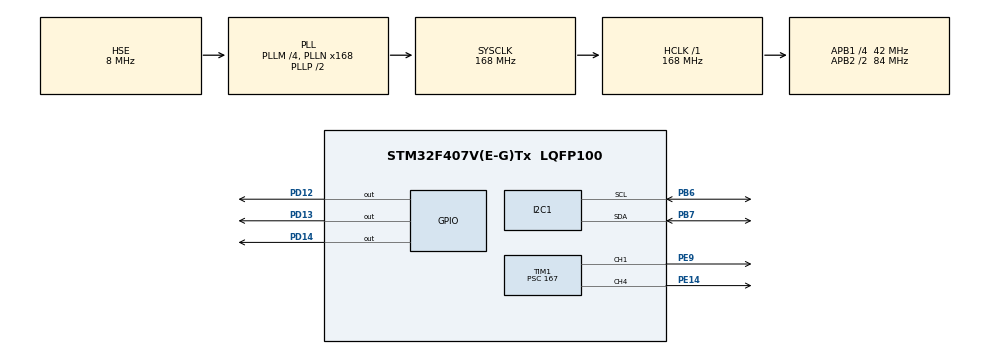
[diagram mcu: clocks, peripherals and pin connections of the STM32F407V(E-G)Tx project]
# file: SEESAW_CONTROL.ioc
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Mcu.Family=STM32F4
Mcu.Name=STM32F407V(E-G)Tx
Mcu.Package=LQFP100
NVIC.PriorityGroup=NVIC_PRIORITYGROUP_4
PA13.Mode=Serial_Wire
PA13.Signal=SYS_JTMS-SWDIO
PA14.Mode=Serial_Wire
PA14.Signal=SYS_JTCK-SWCLK
PB6.Mode=I2C
PB6.Signal=I2C1_SCL
PB7.Mode=I2C
PB7.Signal=I2C1_SDA
PD12.PinState=GPIO_PIN_SET
PD12.Signal=GPIO_Output
PD13.PinState=GPIO_PIN_SET
PD13.Signal=GPIO_Output
PD14.PinState=GPIO_PIN_SET
PD14.Signal=GPIO_Output
PE14.Signal=S_TIM1_CH4
PE9.Signal=S_TIM1_CH1
PH0-OSC_IN.Mode=HSE-External-Oscillator
PH0-OSC_IN.Signal=RCC_OSC_IN
PH1-OSC_OUT.Mode=HSE-External-Oscillator
PH1-OSC_OUT.Signal=RCC_OSC_OUT
ProjectManager.HeapSize=0x200
ProjectManager.StackSize=0x400
ProjectManager.TargetToolchain=STM32CubeIDE
RCC.48MHZClocksFreq_Value=84000000
RCC.AHBFreq_Value=168000000
RCC.APB1CLKDivider=RCC_HCLK_DIV4
RCC.APB1Freq_Value=42000000
RCC.APB1TimFreq_Value=84000000
RCC.APB2CLKDivider=RCC_HCLK_DIV2
RCC.APB2Freq_Value=84000000
RCC.APB2TimFreq_Value=168000000
RCC.CortexFreq_Value=168000000
RCC.HCLKFreq_Value=168000000
RCC.HSE_VALUE=8000000
RCC.HSI_VALUE=16000000
RCC.LSE_VALUE=32768
RCC.PLLM=4
RCC.PLLN=168
RCC.PLLSourceVirtual=RCC_PLLSOURCE_HSE
RCC.SYSCLKFreq_VALUE=168000000
RCC.SYSCLKSource=RCC_SYSCLKSOURCE_PLLCLK
RCC.VCOOutputFreq_Value=336000000
SH.S_TIM1_CH1.0=TIM1_CH1,PWM Generation1 CH1
SH.S_TIM1_CH4.0=TIM1_CH4,PWM Generation4 CH4
TIM1.Channel-PWM\ Generation1\ CH1=TIM_CHANNEL_1
TIM1.Channel-PWM\ Generation4\ CH4=TIM_CHANNEL_4
TIM1.Period=2499
TIM1.Prescaler=167
VP_TIM1_VS_ClockSourceINT.Mode=Internal
board=custom

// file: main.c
/* USER CODE BEGIN Header */
/**
  ******************************************************************************
  * @file           : main.c
  * @brief          : Main program body
  ******************************************************************************
  * @attention
  *
  * Copyright (c) 2022 STMicroelectronics.
  * All rights reserved.
  *
  * This software is licensed under terms that can be found in the LICENSE file
  * in the root directory of this software component.
  * If no LICENSE file comes with this software, it is provided AS-IS.
  *
  ******************************************************************************
  */
/* USER CODE END Header */
#include "main.h"

/* USER CODE BEGIN Includes */
#include "stdio.h"
#include "string.h"
#include "stdlib.h"
#include "math.h"
#include "stdbool.h"
//#include "A.h"
/* USER CODE END Includes */

/* USER CODE BEGIN PD */
#define MPU6050_ADDR 0x68<<1
#define PWR_MGMT_1_REG 0x6B
#define SMPLRT_DIV_REG 0x19
#define GYRO_CNFG_REG 0x1B
#define ACC_CNFG_REG 0x1C
/* USER CODE END PD */

I2C_HandleTypeDef hi2c1;
TIM_HandleTypeDef htim1;

/* USER CODE BEGIN PV */
uint16_t USBGiden[100];
uint16_t pwm;
uint16_t pwm2;
float set = 0;
float kpacc = 12, ki = 0.1, kd = 0.2, kpgyro = 0.6;
double throttle = 1300;
float pid_p = 0, pid_i = 0, pid_d = 0, PID, PID2, pid_p1 = 0;
float error, previous_error, error_cascade;
unsigned long t_now, t_last;
float dt;
float gyro_cal[3];
int16_t acc_total_vector;
float angle_pitch_gyro, angle_roll_gyro;
float angle_pitch_acc, angle_roll_acc;
float angle_pitch_gyro_velocity;
float angle_pitch, angle_roll;
int16_t raw_temp;
float temp;
int i;
float prevtime, prevtime1, time1, elapsedtime1, prevtime2, time2, elapsedtime2;
HAL_StatusTypeDef set_gyro;
uint8_t data;
uint8_t buffer[2], tuffer[6], cuffer[6];
int16_t gyro_raw[3], acc_raw[3];
#define Elapsed_time 0.001
uint32_t system_clock_counter_1ms;
typedef union
{
	struct
	{
		uint8_t Hz_1000 : 1 ;
		uint8_t Hz_200 : 1;
		uint8_t Hz_100 : 1;
		uint8_t Hz_50 : 1;
		uint8_t Hz_20 : 1;
		uint8_t Hz_10 : 1;
		uint8_t Hz_5 : 1;
		uint8_t Hz_1 : 1;
	}Task;

	uint8_t all_u8;

}time_task_union;

 time_task_union Time;
/* USER CODE END PV */

void SystemClock_Config(void);
static void MX_GPIO_Init(void);
static void MX_I2C1_Init(void);
static void MX_TIM1_Init(void);

/* USER CODE BEGIN 0 */
void HAL_SYSTICK_Callback(void)
{
	system_clock_counter_1ms++;

	if( system_clock_counter_1ms % 1000 == 0)
	{
		Time.Task.Hz_1 = 1;
	}
	if( system_clock_counter_1ms % 200 == 0)
	{
		Time.Task.Hz_5 = 1;
	}
	if( system_clock_counter_1ms % 100 == 0)
	{
		Time.Task.Hz_10 = 1;
	}
	if( system_clock_counter_1ms % 50 == 0)
	{
		Time.Task.Hz_20 = 1;
	}
	if( system_clock_counter_1ms % 20 == 0)
	{
		Time.Task.Hz_50 = 1;
	}
	if( system_clock_counter_1ms % 10 == 0)
	{
		Time.Task.Hz_100 = 1;
	}
	if( system_clock_counter_1ms % 5 == 0)
	{
		Time.Task.Hz_200 = 1;
	}
	if( system_clock_counter_1ms % 1 == 0)
	{
		Time.Task.Hz_1000 = 1;
	}
}
/* USER CODE END 0 */

int main(void)
{

  /* MCU Configuration--------------------------------------------------------*/

  /* Reset of all peripherals, Initializes the Flash interface and the Systick. */
  HAL_Init();

  /* Configure the system clock */
  SystemClock_Config();

  /* Initialize all configured peripherals */
  MX_GPIO_Init();
  MX_I2C1_Init();
  MX_TIM1_Init();
  /* USER CODE BEGIN 2 */
  	//HAL_TIM_PWM_Start(&htim1, TIM_CHANNEL_1);
	//HAL_TIM_PWM_Start(&htim1, TIM_CHANNEL_4);

  	HAL_TIM_PWM_Start(&htim1, TIM_CHANNEL_1);
    __HAL_TIM_SET_COMPARE(&htim1, TIM_CHANNEL_1, 1000);
    __HAL_TIM_SET_COMPARE(&htim1, TIM_CHANNEL_4, 1000);

    HAL_Delay(2000);

    data = 0x00;
    HAL_I2C_Mem_Write(&hi2c1, MPU6050_ADDR, PWR_MGMT_1_REG, 1, &data, 1, HAL_MAX_DELAY);
    data = 0x08;
    HAL_I2C_Mem_Write(&hi2c1, MPU6050_ADDR, GYRO_CNFG_REG, 1, &data, 1, HAL_MAX_DELAY);
    data = 0x10;
    HAL_I2C_Mem_Write(&hi2c1, MPU6050_ADDR, ACC_CNFG_REG, 1, &data, 1, HAL_MAX_DELAY);

    for(i=0; i<2000; i++)
      {
    	  prevtime2 = time2;
    	  time2 = HAL_GetTick();
    	  elapsedtime2 = (time2-prevtime)*1000.0;

    	  cuffer[0]=0x43;
    	  HAL_I2C_Master_Transmit(&hi2c1, MPU6050_ADDR, cuffer, 1, HAL_MAX_DELAY);
    	  HAL_I2C_Master_Receive(&hi2c1, MPU6050_ADDR, cuffer, 6, HAL_MAX_DELAY);

    	  gyro_raw[0] = (cuffer[0] << 8 | cuffer[1]);
    	  gyro_raw[1] = (cuffer[2] << 8 | cuffer[3]);
    	  gyro_raw[2] = (cuffer[4] << 8 | cuffer[5]);

    	  gyro_cal[0] += gyro_raw[0];
    	  gyro_cal[1] += gyro_raw[1];
    	  gyro_cal[2] += gyro_raw[2];

    	  HAL_Delay(3);

      }

      gyro_cal[0] /= 2000.0;
      gyro_cal[1] /= 2000.0;
      gyro_cal[2] /= 2000.0;

      HAL_GPIO_TogglePin(GPIOD, GPIO_PIN_12);
      HAL_Delay(1000);
  /* USER CODE END 2 */

  /* Infinite loop */
  while (1)
  {

    /* USER CODE BEGIN 3 */
	  prevtime1 = time1;
	  	  	  time1 = HAL_GetTick();
	  	  	  elapsedtime1 = (time1-prevtime1)*1000.0;

	  	  	  tuffer[0] = 0x3B;
	  	  	  HAL_I2C_Master_Transmit(&hi2c1, MPU6050_ADDR, tuffer, 1, HAL_MAX_DELAY);
	  	  	  HAL_I2C_Master_Receive(&hi2c1, MPU6050_ADDR, tuffer, 6, HAL_MAX_DELAY);

	  	  	  acc_raw[0] = (tuffer[0] << 8 | tuffer[1]);
	  	  	  acc_raw[1] = (tuffer[2] << 8 | tuffer[3]);
	  	  	  acc_raw[2] = (tuffer[4] << 8 | tuffer[5]);

	  	  	  buffer[0] = 0x41;
	  	  	  HAL_I2C_Master_Transmit(&hi2c1, MPU6050_ADDR, buffer, 1, HAL_MAX_DELAY);
	  	  	  HAL_I2C_Master_Receive(&hi2c1, MPU6050_ADDR, buffer, 2, HAL_MAX_DELAY);

	  	  	  raw_temp = (buffer[0] << 8 | buffer[1]);
	  	  	  temp = (raw_temp / 340.0) + 36.53;

	  	  	  cuffer[0] = 0x43;
	  	  	  HAL_I2C_Master_Transmit(&hi2c1, MPU6050_ADDR, cuffer, 1, HAL_MAX_DELAY);
	  	  	  HAL_I2C_Master_Receive(&hi2c1, MPU6050_ADDR, cuffer, 6, HAL_MAX_DELAY);

	  	  	  gyro_raw[0] = (cuffer[0] << 8 | cuffer[1]);
	  	  	  gyro_raw[1] = (cuffer[2] << 8 | cuffer[3]);
	  	  	  gyro_raw[2] = (cuffer[4] << 8 | cuffer[5]);

	  	  	  gyro_raw[0] = gyro_raw[0] - gyro_cal[0];
	  	  	  gyro_raw[1] -= gyro_cal[1];
	  	  	  gyro_raw[2] -= gyro_cal[2];

	  	  	  angle_pitch_gyro += gyro_raw[0] * 0.0000611;
	  	  	  angle_roll_gyro += gyro_raw[1] * 0.0000611;
	  	  	  angle_pitch_gyro_velocity = gyro_raw[0] * 0.0000611;

	  	  	  angle_pitch_gyro += angle_roll_gyro * sin(gyro_raw[2] * 0.000001066);
	  	  	  angle_roll_gyro -= angle_pitch_gyro * sin(gyro_raw[2] * 0.000001066);

	  	  	  acc_total_vector = sqrt((acc_raw[0]*acc_raw[0])+(acc_raw[1]*acc_raw[1])+(acc_raw[2]*acc_raw[2]));

	  	  	  angle_pitch_acc = asin((float)acc_raw[1]/acc_total_vector) * 57.296;
	  	  	  angle_roll_acc = asin((float)acc_raw[0]/acc_total_vector) * -57.296;

	  	  	  angle_pitch_acc -= 0.00;
	  	  	  angle_roll_acc -= 0.00;

	  	  	  if(set_gyro)
	  	  	  {
	  	  		  angle_pitch = angle_pitch_gyro * 0.9996 + angle_pitch_acc * 0.0004;
	  	  		  angle_roll = angle_roll_gyro * 0.9996 + angle_roll_acc * 0.0004;
	  	  	  }
	  	  	  else
	  	  	  {
	  	  		  angle_pitch = angle_pitch_acc;
	  	  		  set_gyro = true;
	  	  	  }

	  	  	  while((HAL_GetTick() - prevtime) * 1000.0 < 4000.0);
	  	  	  prevtime = HAL_GetTick();

	  		t_last = t_now;
	  		  t_now = HAL_GetTick();
	  		  dt = (t_now-t_last)/1000.0;

	  		  //disaridaki cascade
	  		if(Time.Task.Hz_200 == 1){
	  		  error = angle_pitch-set;
	  		  pid_p = kpacc*error;
	  		  HAL_GPIO_TogglePin(GPIOD, GPIO_PIN_13);
	  		Time.Task.Hz_200 = 0;

	  		  //icerideki cascade
	  		}
	  		if(Time.Task.Hz_1000 == 1){
	  		  error_cascade = pid_p-angle_pitch_gyro_velocity;
	  		  pid_p1 = kpgyro*error_cascade;
	  		 if(-10 < error_cascade && error_cascade < 10)
	  				  {
	  					  pid_i = pid_i + (ki*error_cascade)*dt;
	  				  }
	  			  pid_d = kd*((error_cascade-previous_error)/dt);
	  			  PID =  pid_p1 + pid_i + pid_d;
	  			HAL_GPIO_TogglePin(GPIOD, GPIO_PIN_14);
	  			Time.Task.Hz_1000 = 0;

	  		}

	  		  if(PID < -300)
	  		  {
	  			  PID = -300;
	  		  }
	  		  if(PID > 700)
	  		  {
	  			  PID = 700;
	  		  }
	  		  pwm = throttle + PID;
	  		  pwm2 = throttle - PID;
	  		  if(pwm < 1000)
	  		  {
	  			  pwm = 1000;
	  		  }
	  		  if(pwm > 2000)
	  		  {
	  			  pwm = 2000;
	  		  }
	  	  __HAL_TIM_SET_COMPARE(&htim1, TIM_CHANNEL_1, pwm);
	  	  __HAL_TIM_SET_COMPARE(&htim1, TIM_CHANNEL_4, pwm2);
	  		  previous_error = error_cascade;
  }
  /* USER CODE END 3 */
}

void SystemClock_Config(void)
{
  RCC_OscInitTypeDef RCC_OscInitStruct = {0};
  RCC_ClkInitTypeDef RCC_ClkInitStruct = {0};

  /** Configure the main internal regulator output voltage
  */
  __HAL_RCC_PWR_CLK_ENABLE();
  __HAL_PWR_VOLTAGESCALING_CONFIG(PWR_REGULATOR_VOLTAGE_SCALE1);

  /** Initializes the RCC Oscillators according to the specified parameters
  * in the RCC_OscInitTypeDef structure.
  */
  RCC_OscInitStruct.OscillatorType = RCC_OSCILLATORTYPE_HSE;
  RCC_OscInitStruct.HSEState = RCC_HSE_ON;
  RCC_OscInitStruct.PLL.PLLState = RCC_PLL_ON;
  RCC_OscInitStruct.PLL.PLLSource = RCC_PLLSOURCE_HSE;
  RCC_OscInitStruct.PLL.PLLM = 4;
  RCC_OscInitStruct.PLL.PLLN = 168;
  RCC_OscInitStruct.PLL.PLLP = RCC_PLLP_DIV2;
  RCC_OscInitStruct.PLL.PLLQ = 4;
  if (HAL_RCC_OscConfig(&RCC_OscInitStruct) != HAL_OK)
  {
    Error_Handler();
  }

  /** Initializes the CPU, AHB and APB buses clocks
  */
  RCC_ClkInitStruct.ClockType = RCC_CLOCKTYPE_HCLK|RCC_CLOCKTYPE_SYSCLK
                              |RCC_CLOCKTYPE_PCLK1|RCC_CLOCKTYPE_PCLK2;
  RCC_ClkInitStruct.SYSCLKSource = RCC_SYSCLKSOURCE_PLLCLK;
  RCC_ClkInitStruct.AHBCLKDivider = RCC_SYSCLK_DIV1;
  RCC_ClkInitStruct.APB1CLKDivider = RCC_HCLK_DIV4;
  RCC_ClkInitStruct.APB2CLKDivider = RCC_HCLK_DIV2;

  if (HAL_RCC_ClockConfig(&RCC_ClkInitStruct, FLASH_LATENCY_5) != HAL_OK)
  {
    Error_Handler();
  }
}

static void MX_I2C1_Init(void)
{

  hi2c1.Instance = I2C1;
  hi2c1.Init.ClockSpeed = 100000;
  hi2c1.Init.DutyCycle = I2C_DUTYCYCLE_2;
  hi2c1.Init.OwnAddress1 = 0;
  hi2c1.Init.AddressingMode = I2C_ADDRESSINGMODE_7BIT;
  hi2c1.Init.DualAddressMode = I2C_DUALADDRESS_DISABLE;
  hi2c1.Init.OwnAddress2 = 0;
  hi2c1.Init.GeneralCallMode = I2C_GENERALCALL_DISABLE;
  hi2c1.Init.NoStretchMode = I2C_NOSTRETCH_DISABLE;
  if (HAL_I2C_Init(&hi2c1) != HAL_OK)
  {
    Error_Handler();
  }

}

static void MX_TIM1_Init(void)
{

  TIM_ClockConfigTypeDef sClockSourceConfig = {0};
  TIM_MasterConfigTypeDef sMasterConfig = {0};
  TIM_OC_InitTypeDef sConfigOC = {0};
  TIM_BreakDeadTimeConfigTypeDef sBreakDeadTimeConfig = {0};

  htim1.Instance = TIM1;
  htim1.Init.Prescaler = 167;
  htim1.Init.CounterMode = TIM_COUNTERMODE_UP;
  htim1.Init.Period = 2499;
  htim1.Init.ClockDivision = TIM_CLOCKDIVISION_DIV1;
  htim1.Init.RepetitionCounter = 0;
  htim1.Init.AutoReloadPreload = TIM_AUTORELOAD_PRELOAD_DISABLE;
  if (HAL_TIM_Base_Init(&htim1) != HAL_OK)
  {
    Error_Handler();
  }
  sClockSourceConfig.ClockSource = TIM_CLOCKSOURCE_INTERNAL;
  if (HAL_TIM_ConfigClockSource(&htim1, &sClockSourceConfig) != HAL_OK)
  {
    Error_Handler();
  }
  if (HAL_TIM_PWM_Init(&htim1) != HAL_OK)
  {
    Error_Handler();
  }
  sMasterConfig.MasterOutputTrigger = TIM_TRGO_RESET;
  sMasterConfig.MasterSlaveMode = TIM_MASTERSLAVEMODE_DISABLE;
  if (HAL_TIMEx_MasterConfigSynchronization(&htim1, &sMasterConfig) != HAL_OK)
  {
    Error_Handler();
  }
  sConfigOC.OCMode = TIM_OCMODE_PWM1;
  sConfigOC.Pulse = 0;
  sConfigOC.OCPolarity = TIM_OCPOLARITY_HIGH;
  sConfigOC.OCNPolarity = TIM_OCNPOLARITY_HIGH;
  sConfigOC.OCFastMode = TIM_OCFAST_DISABLE;
  sConfigOC.OCIdleState = TIM_OCIDLESTATE_RESET;
  sConfigOC.OCNIdleState = TIM_OCNIDLESTATE_RESET;
  if (HAL_TIM_PWM_ConfigChannel(&htim1, &sConfigOC, TIM_CHANNEL_1) != HAL_OK)
  {
    Error_Handler();
  }
  if (HAL_TIM_PWM_ConfigChannel(&htim1, &sConfigOC, TIM_CHANNEL_4) != HAL_OK)
  {
    Error_Handler();
  }
  sBreakDeadTimeConfig.OffStateRunMode = TIM_OSSR_DISABLE;
  sBreakDeadTimeConfig.OffStateIDLEMode = TIM_OSSI_DISABLE;
  sBreakDeadTimeConfig.LockLevel = TIM_LOCKLEVEL_OFF;
  sBreakDeadTimeConfig.DeadTime = 0;
  sBreakDeadTimeConfig.BreakState = TIM_BREAK_DISABLE;
  sBreakDeadTimeConfig.BreakPolarity = TIM_BREAKPOLARITY_HIGH;
  sBreakDeadTimeConfig.AutomaticOutput = TIM_AUTOMATICOUTPUT_DISABLE;
  if (HAL_TIMEx_ConfigBreakDeadTime(&htim1, &sBreakDeadTimeConfig) != HAL_OK)
  {
    Error_Handler();
  }
  HAL_TIM_MspPostInit(&htim1);

}

static void MX_GPIO_Init(void)
{
  GPIO_InitTypeDef GPIO_InitStruct = {0};

  /* GPIO Ports Clock Enable */
  __HAL_RCC_GPIOH_CLK_ENABLE();
  __HAL_RCC_GPIOE_CLK_ENABLE();
  __HAL_RCC_GPIOD_CLK_ENABLE();
  __HAL_RCC_GPIOA_CLK_ENABLE();
  __HAL_RCC_GPIOB_CLK_ENABLE();

  /*Configure GPIO pin Output Level */
  HAL_GPIO_WritePin(GPIOD, GPIO_PIN_12|GPIO_PIN_13|GPIO_PIN_14, GPIO_PIN_SET);

  /*Configure GPIO pins : PD12 PD13 PD14 */
  GPIO_InitStruct.Pin = GPIO_PIN_12|GPIO_PIN_13|GPIO_PIN_14;
  GPIO_InitStruct.Mode = GPIO_MODE_OUTPUT_PP;
  GPIO_InitStruct.Pull = GPIO_NOPULL;
  GPIO_InitStruct.Speed = GPIO_SPEED_FREQ_LOW;
  HAL_GPIO_Init(GPIOD, &GPIO_InitStruct);

}

void Error_Handler(void)
{
  __disable_irq();
  while (1)
  {
  }
}
